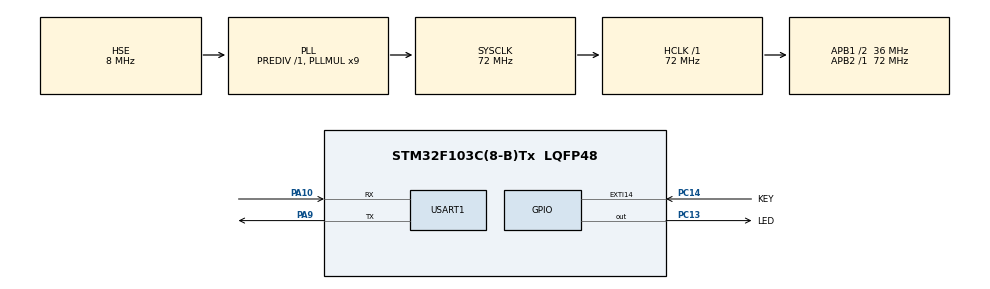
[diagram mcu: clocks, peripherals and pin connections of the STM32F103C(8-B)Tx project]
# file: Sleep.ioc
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Mcu.Family=STM32F1
Mcu.Name=STM32F103C(8-B)Tx
Mcu.Package=LQFP48
NVIC.EXTI15_10_IRQn=true\:1\:0\:true\:false\:true\:true\:true\:true
NVIC.PriorityGroup=NVIC_PRIORITYGROUP_2
NVIC.USART1_IRQn=true\:1\:1\:true\:false\:true\:true\:true\:true
PA10.Mode=Asynchronous
PA10.Signal=USART1_RX
PA13.Mode=Serial_Wire
PA13.Signal=SYS_JTMS-SWDIO
PA14.Mode=Serial_Wire
PA14.Signal=SYS_JTCK-SWCLK
PA9.Mode=Asynchronous
PA9.Signal=USART1_TX
PC13-TAMPER-RTC.GPIO_Label=LED
PC13-TAMPER-RTC.GPIO_PuPd=GPIO_PULLUP
PC13-TAMPER-RTC.GPIO_Speed=GPIO_SPEED_FREQ_MEDIUM
PC13-TAMPER-RTC.PinState=GPIO_PIN_SET
PC13-TAMPER-RTC.Signal=GPIO_Output
PC14-OSC32_IN.GPIO_Label=KEY
PC14-OSC32_IN.GPIO_ModeDefaultEXTI=GPIO_MODE_IT_RISING
PC14-OSC32_IN.GPIO_PuPd=GPIO_PULLUP
PC14-OSC32_IN.Signal=GPXTI14
PD0-OSC_IN.Mode=HSE-External-Oscillator
PD0-OSC_IN.Signal=RCC_OSC_IN
PD1-OSC_OUT.Mode=HSE-External-Oscillator
PD1-OSC_OUT.Signal=RCC_OSC_OUT
ProjectManager.HeapSize=0x200
ProjectManager.StackSize=0x400
ProjectManager.TargetToolchain=MDK-ARM V5.32
RCC.AHBFreq_Value=72000000
RCC.APB1CLKDivider=RCC_HCLK_DIV2
RCC.APB1Freq_Value=36000000
RCC.APB1TimFreq_Value=72000000
RCC.APB2Freq_Value=72000000
RCC.APB2TimFreq_Value=72000000
RCC.HCLKFreq_Value=72000000
RCC.PLLMUL=RCC_PLL_MUL9
RCC.PLLSourceVirtual=RCC_PLLSOURCE_HSE
RCC.SYSCLKFreq_VALUE=72000000
RCC.SYSCLKSource=RCC_SYSCLKSOURCE_PLLCLK
RCC.USBFreq_Value=72000000
USART1.VirtualMode=VM_ASYNC
board=custom

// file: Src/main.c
/* USER CODE BEGIN Header */
/**
 ******************************************************************************
 * @file           : main.c
 * @brief          : Main program body
 ******************************************************************************
 * @attention
 *
 * Copyright (c) 2024 STMicroelectronics.
 * All rights reserved.
 *
 * This software is licensed under terms that can be found in the LICENSE file
 * in the root directory of this software component.
 * If no LICENSE file comes with this software, it is provided AS-IS.
 *
 ******************************************************************************
 */
/* USER CODE END Header */
#include "main.h"
#include "usart.h"
#include "gpio.h"

void SystemClock_Config(void);

int main(void)
{

	/* MCU Configuration--------------------------------------------------------*/

	/* Reset of all peripherals, Initializes the Flash interface and the Systick. */
	HAL_Init();

	/* Configure the system clock */
	SystemClock_Config();

	/* Initialize all configured peripherals */
	MX_GPIO_Init();
	MX_USART1_UART_Init();
	/* USER CODE BEGIN 2 */

	// 待机模式重启判断
	if (__HAL_PWR_GET_FLAG(PWR_FLAG_SB) != RESET)
	{
		// 可插入待机重启处理程序
		printf("待机唤醒!\r\n");
		HAL_PWR_DisableWakeUpPin(PWR_WAKEUP_PIN1); // 禁止 WKUP 引脚唤醒
		__HAL_PWR_CLEAR_FLAG(PWR_FLAG_SB);		   // 清除唤醒标志位
	}

	/* USER CODE END 2 */

	/* Infinite loop */
	/* USER CODE BEGIN WHILE */
	while (1)
	{
		printf("Time: 3\r\n");
		LED(1);
		HAL_Delay(500);

		printf("Time: 2\r\n");
		LED(0);
		HAL_Delay(500);

		printf("Time: 1\r\n");
		LED(1);
		HAL_Delay(500);

		printf("Sleep IN!\r\n");
		LED(0);

		// ---------------------------------- 睡 眠 ------------------------------------------------
		HAL_SuspendTick(); // 挂起（暂停）系统时钟中断，这里是主要的减少功耗的地方
		// PWR_MAINREGULATOR_ON 主电源			PWR_LOWPOWERREGULATOR_ON	低功耗电源
		// PWR_SLEEPENTRY_WFI	中断唤醒		PWR_SLEEPENTRY_WFE			事件唤醒
		HAL_PWR_EnterSLEEPMode(PWR_MAINREGULATOR_ON, PWR_SLEEPENTRY_WFI); // 进入睡眠模式， 任意中断可唤醒
		HAL_ResumeTick();												  // 恢复系统时钟中断

		// ---------------------------------- 停 机 ------------------------------------------------
		HAL_SuspendTick();												// 暂停滴答时钟，防止通过滴答时钟中断唤醒
		HAL_PWR_EnterSTOPMode(PWR_MAINREGULATOR_ON, PWR_STOPENTRY_WFI); // 进入停止模式，设置电压调节器为低功耗模式，等待中断唤醒
		SystemClock_Config();											// 唤醒后需要重新配置 RCC 时钟才能正常运行
		HAL_ResumeTick();												// 被唤醒后，恢复滴答时钟

		// ---------------------------------- 待 机 ------------------------------------------------
		__HAL_RCC_PWR_CLK_ENABLE();				  // 使能 PWR 时钟
		__HAL_PWR_CLEAR_FLAG(PWR_FLAG_WU);		  // 清除 WKUP 唤醒标志
		HAL_PWR_EnableWakeUpPin(PWR_WAKEUP_PIN1); // 使能 WKUP 用于唤醒
		HAL_PWR_EnterSTANDBYMode();				  // 进入待机

		printf("Sleep OUT!\r\n");

		/* USER CODE END WHILE */

	}
}

void SystemClock_Config(void)
{
	RCC_OscInitTypeDef RCC_OscInitStruct = {0};
	RCC_ClkInitTypeDef RCC_ClkInitStruct = {0};

	/** Initializes the RCC Oscillators according to the specified parameters
	 * in the RCC_OscInitTypeDef structure.
	 */
	RCC_OscInitStruct.OscillatorType = RCC_OSCILLATORTYPE_HSE;
	RCC_OscInitStruct.HSEState = RCC_HSE_ON;
	RCC_OscInitStruct.HSEPredivValue = RCC_HSE_PREDIV_DIV1;
	RCC_OscInitStruct.HSIState = RCC_HSI_ON;
	RCC_OscInitStruct.PLL.PLLState = RCC_PLL_ON;
	RCC_OscInitStruct.PLL.PLLSource = RCC_PLLSOURCE_HSE;
	RCC_OscInitStruct.PLL.PLLMUL = RCC_PLL_MUL9;
	if (HAL_RCC_OscConfig(&RCC_OscInitStruct) != HAL_OK)
	{
		Error_Handler();
	}

	/** Initializes the CPU, AHB and APB buses clocks
	 */
	RCC_ClkInitStruct.ClockType = RCC_CLOCKTYPE_HCLK | RCC_CLOCKTYPE_SYSCLK | RCC_CLOCKTYPE_PCLK1 | RCC_CLOCKTYPE_PCLK2;
	RCC_ClkInitStruct.SYSCLKSource = RCC_SYSCLKSOURCE_PLLCLK;
	RCC_ClkInitStruct.AHBCLKDivider = RCC_SYSCLK_DIV1;
	RCC_ClkInitStruct.APB1CLKDivider = RCC_HCLK_DIV2;
	RCC_ClkInitStruct.APB2CLKDivider = RCC_HCLK_DIV1;

	if (HAL_RCC_ClockConfig(&RCC_ClkInitStruct, FLASH_LATENCY_2) != HAL_OK)
	{
		Error_Handler();
	}
}

void Error_Handler(void)
{
	__disable_irq();
	while (1)
	{
	}
}
